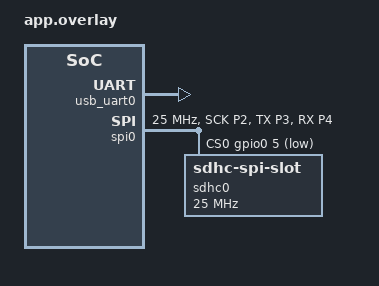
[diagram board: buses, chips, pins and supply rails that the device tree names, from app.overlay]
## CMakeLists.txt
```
cmake_minimum_required(VERSION 3.20.0)
find_package(Zephyr REQUIRED HINTS $ENV{ZEPHYR_BASE})
project(sdtool)

FILE(GLOB_RECURSE app_sources src/*.c*)
target_sources(app PRIVATE ${app_sources})

set(APP_BIN_DIR ${CMAKE_CURRENT_SOURCE_DIR}/bin)

add_custom_target(copy_fw ALL
  DEPENDS ${logical_target_for_zephyr_elf}
  COMMAND ${CMAKE_COMMAND} -E make_directory ${APP_BIN_DIR}
  COMMAND ${CMAKE_COMMAND} -E copy_if_different
          $<TARGET_FILE:${logical_target_for_zephyr_elf}>
          ${APP_BIN_DIR}/sdtool.elf
  COMMAND ${CMAKE_COMMAND} -E copy_if_different
          ${CMAKE_BINARY_DIR}/zephyr/zephyr.bin
          ${APP_BIN_DIR}/sdtool.bin
  COMMAND ${CMAKE_COMMAND} -E copy_if_different
          ${CMAKE_BINARY_DIR}/zephyr/zephyr.hex
          ${APP_BIN_DIR}/sdtool.hex
  COMMAND ${CMAKE_COMMAND} -E copy_if_different
          ${CMAKE_BINARY_DIR}/zephyr/zephyr.uf2
          ${APP_BIN_DIR}/sdtool.uf2
)
```

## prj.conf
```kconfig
CONFIG_SPI=y
CONFIG_DISK_DRIVER_SDMMC=y

CONFIG_FILE_SYSTEM=y
#CONFIG_FILE_SYSTEM_LITTLEFS=y
CONFIG_FAT_FILESYSTEM_ELM=y
CONFIG_DISK_ACCESS=y

CONFIG_LOG=y
CONFIG_LOG_BACKEND_UART=y
CONFIG_LOG_BUFFER_SIZE=4096
#CONFIG_LOG_MODE_IMMEDIATE=y
#CONFIG_LOG_MODE_DEFERRED=n
CONFIG_LOG_RUNTIME_FILTERING=y
#CONFIG_LOG_DEFAULT_LEVEL=2
CONFIG_SD_LOG_LEVEL_DEFAULT=n
CONFIG_SD_LOG_LEVEL_DBG=y
CONFIG_SDHC_LOG_LEVEL_DEFAULT=n
CONFIG_SDHC_LOG_LEVEL_DBG=y
CONFIG_DISK_LOG_LEVEL_DEFAULT=n
CONFIG_DISK_LOG_LEVEL_DBG=y
CONFIG_FS_LOG_LEVEL_DEFAULT=n
CONFIG_FS_LOG_LEVEL_DBG=y
CONFIG_LOG_BACKEND_SHOW_COLOR=y
CONFIG_LOG_CMDS=y
CONFIG_PRINTK=y
CONFIG_BOOT_BANNER=n

CONFIG_MAIN_STACK_SIZE=2048

CONFIG_USB_DEVICE_STACK=y
CONFIG_USB_DEVICE_PRODUCT="RP2040 Virtual UART"
CONFIG_USB_DEVICE_INITIALIZE_AT_BOOT=y

CONFIG_SHELL=y
CONFIG_SHELL_HISTORY=y
CONFIG_SHELL_PROMPT_UART="SD test> "
CONFIG_KERNEL_SHELL=y
CONFIG_INIT_STACKS=y
CONFIG_THREAD_STACK_INFO=y
CONFIG_THREAD_MONITOR=y
CONFIG_THREAD_NAME=y
CONFIG_THREAD_RUNTIME_STATS=y
CONFIG_THREAD_RUNTIME_STATS_USE_TIMING_FUNCTIONS=y
CONFIG_POSIX_CLOCK=n
CONFIG_DATE_SHELL=n
CONFIG_DEVMEM_SHELL=n
CONFIG_SHELL_CMDS_RESIZE=n
CONFIG_SHELL_CMDS_RETURN_VALUE=n
CONFIG_SHELL_STATS=n
CONFIG_SHELL_VT100_COMMANDS=y
CONFIG_SHELL_METAKEYS=n

CONFIG_OUTPUT_DISASSEMBLY=y
```

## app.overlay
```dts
#include <zephyr/dt-bindings/pinctrl/rpi-pico-rp2040-pinctrl.h>
#include <zephyr/dt-bindings/gpio/gpio.h>
#include <zephyr/dt-bindings/led/led.h>

&zephyr_udc0
{
  usb_uart0: cdc_acm_uart0
  {
    compatible = "zephyr,cdc-acm-uart";
  };
};

/ {
    chosen
    {
      zephyr,shell-uart = &usb_uart0;
    };
};

&pinctrl 
{
	spi0_default: spi0_default 
  {
    group1
    {
      pinmux = <SPI0_SCK_P2>, <SPI0_TX_P3>;
    };

    group2
    {
      pinmux = <SPI0_RX_P4>;
      input-enable;
    };
	};
};

&spi0 
{
	status = "okay";
	pinctrl-0 = <&spi0_default>;
	cs-gpios = <&gpio0 5 GPIO_ACTIVE_LOW>;
  clock-frequency = <25000000>;
	pinctrl-names = "default";

	sdhc0: sdhc@0 
  {
		compatible = "zephyr,sdhc-spi-slot";
		reg = <0>;
		status = "okay";
		spi-max-frequency = <25000000>;
		mmc 
    {
      compatible = "zephyr,sdmmc-disk";
      status = "okay";
    };
  };
};
```

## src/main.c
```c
#include <zephyr/kernel.h>
#include <zephyr/shell/shell.h>
#include <zephyr/shell/shell_uart.h>

int main(void)
{
  const struct shell *sh = shell_backend_uart_get_ptr();

  if (sh)
  {
    while (!shell_ready(sh))
    {
      k_sleep(K_MSEC(10));
    }

    shell_execute_cmd(sh, "log disable");
  }
  
  return 0;
}
```

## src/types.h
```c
#pragma once

#include <stdint.h>

typedef uint8_t  u8;
typedef uint16_t u16;
typedef uint32_t u32;
typedef uint64_t u64;
typedef uint8_t  U8;
typedef uint16_t U16;
typedef uint32_t U32;
typedef uint64_t U64;

typedef int8_t  i8;
typedef int16_t i16;
typedef int32_t i32;
typedef int64_t i64;
typedef int8_t  I8;
typedef int16_t I16;
typedef int32_t I32;
typedef int64_t I64;

typedef int8_t  s8;
typedef int16_t s16;
typedef int32_t s32;
typedef int64_t s64;
typedef int8_t  S8;
typedef int16_t S16;
typedef int32_t S32;
typedef int64_t S64;

#define _max(a,b)  (((a) > (b)) ? (a) : (b))
#define _min(a,b)  (((a) < (b)) ? (a) : (b))
#define sizearr(a) (sizeof(a) / sizeof(a[0]))

#define lo8(a)    ((u8)(a))
#define hi8(a)    ((u8)(a >> 8))
#define hx8(a)    ((u8)(a >> 16))

#define countof(a)  (sizeof(a) / sizeof(a[0]))
```
